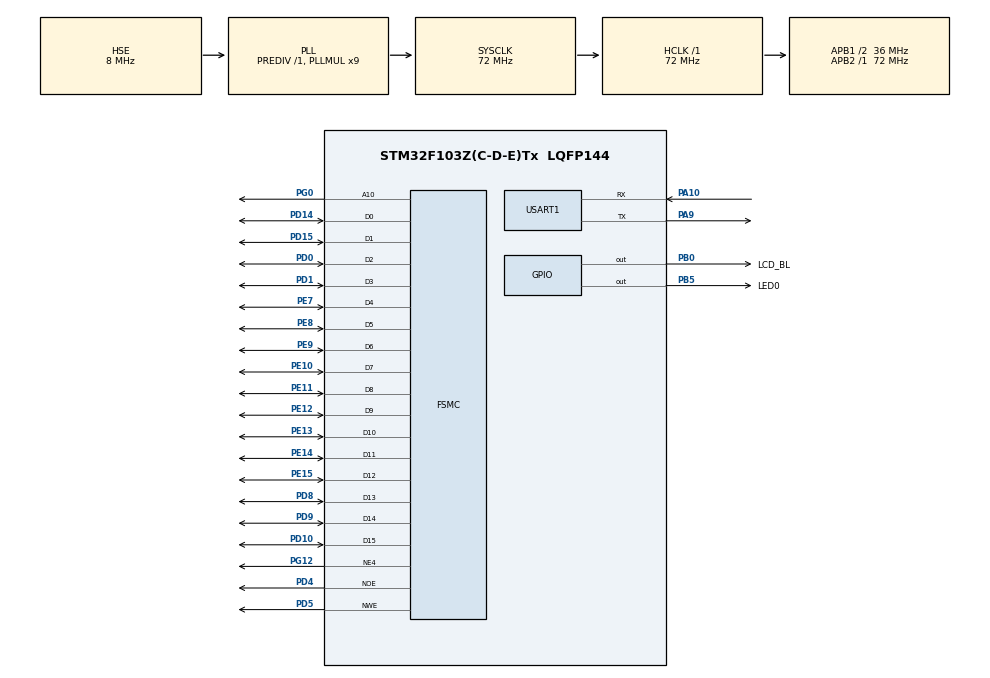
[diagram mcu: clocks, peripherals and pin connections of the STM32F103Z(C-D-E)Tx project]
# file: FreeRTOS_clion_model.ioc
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FREERTOS.HEAP_NUMBER=3
FREERTOS.Tasks01=defaultTask,-2,128,StartDefaultTask,Default,NULL,Dynamic,NULL,NULL;lightTask,0,128,StartLightTask,As weak,NULL,Dynamic,NULL,NULL;lvgl_heartbeat,1,1024,lvgl_heartbeat_func,As weak,NULL,Dynamic,NULL,NULL;init_task,-3,1024,start_init_task,As weak,NULL,Dynamic,NULL,NULL
FREERTOS.configTICK_RATE_HZ=1000
FREERTOS.configTIMER_TASK_PRIORITY=3
FREERTOS.configTOTAL_HEAP_SIZE=65536
FREERTOS.configUSE_APPLICATION_TASK_TAG=0
FREERTOS.configUSE_TICK_HOOK=1
FREERTOS.configUSE_TIMERS=0
FSMC.ExtendedMode1=FSMC_EXTENDED_MODE_ENABLE
Mcu.Family=STM32F1
Mcu.Name=STM32F103Z(C-D-E)Tx
Mcu.Package=LQFP144
NVIC.PriorityGroup=NVIC_PRIORITYGROUP_4
NVIC.TIM1_UP_IRQn=true\:0\:0\:false\:false\:true\:false\:false\:true
NVIC.TIM2_IRQn=true\:5\:0\:false\:false\:true\:true\:true\:true
NVIC.TimeBase=TIM1_UP_IRQn
NVIC.TimeBaseIP=TIM1
OSC_IN.Mode=HSE-External-Oscillator
OSC_IN.Signal=RCC_OSC_IN
OSC_OUT.Mode=HSE-External-Oscillator
OSC_OUT.Signal=RCC_OSC_OUT
PA10.Mode=Asynchronous
PA10.Signal=USART1_RX
PA13.Mode=Serial_Wire
PA13.Signal=SYS_JTMS-SWDIO
PA14.Mode=Serial_Wire
PA14.Signal=SYS_JTCK-SWCLK
PA9.Mode=Asynchronous
PA9.Signal=USART1_TX
PB0.GPIO_Label=LCD_BL
PB0.GPIO_PuPd=GPIO_PULLUP
PB0.GPIO_Speed=GPIO_SPEED_FREQ_HIGH
PB0.Signal=GPIO_Output
PB5.GPIO_Label=LED0
PB5.Signal=GPIO_Output
PD0.Signal=FSMC_D2_DA2
PD1.Signal=FSMC_D3_DA3
PD10.Signal=FSMC_D15_DA15
PD14.Signal=FSMC_D0_DA0
PD15.Signal=FSMC_D1_DA1
PD4.Signal=FSMC_NOE
PD5.Signal=FSMC_NWE
PD8.Signal=FSMC_D13_DA13
PD9.Signal=FSMC_D14_DA14
PE10.Signal=FSMC_D7_DA7
PE11.Signal=FSMC_D8_DA8
PE12.Signal=FSMC_D9_DA9
PE13.Signal=FSMC_D10_DA10
PE14.Signal=FSMC_D11_DA11
PE15.Signal=FSMC_D12_DA12
PE7.Signal=FSMC_D4_DA4
PE8.Signal=FSMC_D5_DA5
PE9.Signal=FSMC_D6_DA6
PG0.Signal=FSMC_A10
PG12.Mode=NorPsramChipSelect4_1
PG12.Signal=FSMC_NE4
ProjectManager.HeapSize=0x800
ProjectManager.StackSize=0x800
ProjectManager.TargetToolchain=SW4STM32
RCC.AHBFreq_Value=72000000
RCC.APB1CLKDivider=RCC_HCLK_DIV2
RCC.APB1Freq_Value=36000000
RCC.APB1TimFreq_Value=72000000
RCC.APB2Freq_Value=72000000
RCC.APB2TimFreq_Value=72000000
RCC.HCLKFreq_Value=72000000
RCC.PLLMUL=RCC_PLL_MUL9
RCC.PLLSourceVirtual=RCC_PLLSOURCE_HSE
RCC.SYSCLKFreq_VALUE=72000000
RCC.SYSCLKSource=RCC_SYSCLKSOURCE_PLLCLK
RCC.USBFreq_Value=72000000
SH.FSMC_A10.0=FSMC_A10,A10_1
SH.FSMC_D0_DA0.0=FSMC_D0,16b-d1
SH.FSMC_D10_DA10.0=FSMC_D10,16b-d1
SH.FSMC_D11_DA11.0=FSMC_D11,16b-d1
SH.FSMC_D12_DA12.0=FSMC_D12,16b-d1
SH.FSMC_D13_DA13.0=FSMC_D13,16b-d1
SH.FSMC_D14_DA14.0=FSMC_D14,16b-d1
SH.FSMC_D15_DA15.0=FSMC_D15,16b-d1
SH.FSMC_D1_DA1.0=FSMC_D1,16b-d1
SH.FSMC_D2_DA2.0=FSMC_D2,16b-d1
SH.FSMC_D3_DA3.0=FSMC_D3,16b-d1
SH.FSMC_D4_DA4.0=FSMC_D4,16b-d1
SH.FSMC_D5_DA5.0=FSMC_D5,16b-d1
SH.FSMC_D6_DA6.0=FSMC_D6,16b-d1
SH.FSMC_D7_DA7.0=FSMC_D7,16b-d1
SH.FSMC_D8_DA8.0=FSMC_D8,16b-d1
SH.FSMC_D9_DA9.0=FSMC_D9,16b-d1
SH.FSMC_NOE.0=FSMC_NOE,Lcd1
SH.FSMC_NWE.0=FSMC_NWE,Lcd1
TIM2.Period=24499
TIM2.Prescaler=31999
USART1.VirtualMode=VM_ASYNC
VP_FREERTOS_VS_CMSIS_V1.Mode=CMSIS_V1
VP_SYS_VS_tim1.Mode=TIM1
VP_TIM2_VS_ClockSourceINT.Mode=Internal
board=custom

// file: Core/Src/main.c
/* USER CODE BEGIN Header */
/**
  ******************************************************************************
  * @file           : main.c
  * @brief          : Main program body
  ******************************************************************************
  * @attention
  *
  * <h2><center>&copy; Copyright (c) 2023 STMicroelectronics.
  * All rights reserved.</center></h2>
  *
  * This software component is licensed by ST under Ultimate Liberty license
  * SLA0044, the "License"; You may not use this file except in compliance with
  * the License. You may obtain a copy of the License at:
  *                             www.st.com/SLA0044
  *
  ******************************************************************************
  */
/* USER CODE END Header */
#include "main.h"
#include "cmsis_os.h"
#include "tim.h"
#include "usart.h"
#include "gpio.h"
#include "fsmc.h"

/* USER CODE BEGIN Includes */
#include "../../BSP/LVGL/lvgl.h"
#include "../../BSP/LVGL/porting/lv_port_disp.h"
#include "../../BSP/LVGL/porting/lv_port_indev.h"
#include "../../Drivers/BSP/LVGL_APP/lv_demo_benchmark.h"
/* USER CODE END Includes */

void SystemClock_Config(void);
void MX_FREERTOS_Init(void);
/* USER CODE BEGIN PFP */
void delay_us(uint32_t xus)
{
  uint32_t Delay = xus * 168/4;
  do
  {
    __NOP();
  }
  while (Delay --);
}
/* USER CODE END PFP */

int main(void)
{

  /* MCU Configuration--------------------------------------------------------*/

  /* Reset of all peripherals, Initializes the Flash interface and the Systick. */
  HAL_Init();

  /* Configure the system clock */
  SystemClock_Config();

  /* Initialize all configured peripherals */
  MX_GPIO_Init();
  MX_USART1_UART_Init();
  MX_FSMC_Init();
  MX_TIM2_Init();
  /* USER CODE BEGIN 2 */
  lv_init();
  if(USE_LVGL_DISP)
    lv_port_disp_init();
//  if(USE_LVGL_INDEV)
//    lv_port_indev_init();
  lv_demo_benchmark();
  /* USER CODE END 2 */

  /* Call init function for freertos objects (in freertos.c) */
  MX_FREERTOS_Init();
  /* Start scheduler */
  osKernelStart();

  /* We should never get here as control is now taken by the scheduler */
  /* Infinite loop */
  while (1)
  {

  }
}

void SystemClock_Config(void)
{
  RCC_OscInitTypeDef RCC_OscInitStruct = {0};
  RCC_ClkInitTypeDef RCC_ClkInitStruct = {0};

  /** Initializes the RCC Oscillators according to the specified parameters
  * in the RCC_OscInitTypeDef structure.
  */
  RCC_OscInitStruct.OscillatorType = RCC_OSCILLATORTYPE_HSE;
  RCC_OscInitStruct.HSEState = RCC_HSE_ON;
  RCC_OscInitStruct.HSEPredivValue = RCC_HSE_PREDIV_DIV1;
  RCC_OscInitStruct.HSIState = RCC_HSI_ON;
  RCC_OscInitStruct.PLL.PLLState = RCC_PLL_ON;
  RCC_OscInitStruct.PLL.PLLSource = RCC_PLLSOURCE_HSE;
  RCC_OscInitStruct.PLL.PLLMUL = RCC_PLL_MUL9;
  if (HAL_RCC_OscConfig(&RCC_OscInitStruct) != HAL_OK)
  {
    Error_Handler();
  }
  /** Initializes the CPU, AHB and APB buses clocks
  */
  RCC_ClkInitStruct.ClockType = RCC_CLOCKTYPE_HCLK|RCC_CLOCKTYPE_SYSCLK
                              |RCC_CLOCKTYPE_PCLK1|RCC_CLOCKTYPE_PCLK2;
  RCC_ClkInitStruct.SYSCLKSource = RCC_SYSCLKSOURCE_PLLCLK;
  RCC_ClkInitStruct.AHBCLKDivider = RCC_SYSCLK_DIV1;
  RCC_ClkInitStruct.APB1CLKDivider = RCC_HCLK_DIV2;
  RCC_ClkInitStruct.APB2CLKDivider = RCC_HCLK_DIV1;

  if (HAL_RCC_ClockConfig(&RCC_ClkInitStruct, FLASH_LATENCY_2) != HAL_OK)
  {
    Error_Handler();
  }
}

 /**
  * @brief  Period elapsed callback in non blocking mode
  * @note   This function is called  when TIM1 interrupt took place, inside
  * HAL_TIM_IRQHandler(). It makes a direct call to HAL_IncTick() to increment
  * a global variable "uwTick" used as application time base.
  * @param  htim : TIM handle
  * @retval None
  */
void HAL_TIM_PeriodElapsedCallback(TIM_HandleTypeDef *htim)
{
  if (htim->Instance == TIM1) {
    HAL_IncTick();
  }
  /* USER CODE BEGIN Callback 1 */
  if(htim->Instance == TIM2)
  {

  }
  /* USER CODE END Callback 1 */
}

void Error_Handler(void)
{
  __disable_irq();
  while (1)
  {
  }
}

/************************ (C) COPYRIGHT STMicroelectronics *****END OF FILE****/

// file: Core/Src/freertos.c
/* USER CODE BEGIN Header */
/**
  ******************************************************************************
  * File Name          : freertos.c
  * Description        : Code for freertos applications
  ******************************************************************************
  * @attention
  *
  * <h2><center>&copy; Copyright (c) 2023 STMicroelectronics.
  * All rights reserved.</center></h2>
  *
  * This software component is licensed by ST under Ultimate Liberty license
  * SLA0044, the "License"; You may not use this file except in compliance with
  * the License. You may obtain a copy of the License at:
  *                             www.st.com/SLA0044
  *
  ******************************************************************************
  */
/* USER CODE END Header */

#include "FreeRTOS.h"
#include "task.h"
#include "main.h"
#include "cmsis_os.h"

/* USER CODE BEGIN Includes */
#include "../../BSP/LVGL/lvgl.h"
#include "../../BSP/LVGL/porting/lv_port_disp.h"
#include "../../BSP/LVGL/porting/lv_port_indev.h"

/* USER CODE END Includes */

osThreadId defaultTaskHandle;
osThreadId lightTaskHandle;
osThreadId lvgl_heartbeatHandle;
osThreadId init_taskHandle;

void StartDefaultTask(void const * argument);
void StartLightTask(void const * argument);
void lvgl_heartbeat_func(void const * argument);
void start_init_task(void const * argument);

void MX_FREERTOS_Init(void); /* (MISRA C 2004 rule 8.1) */

/* GetIdleTaskMemory prototype (linked to static allocation support) */
void vApplicationGetIdleTaskMemory( StaticTask_t **ppxIdleTaskTCBBuffer, StackType_t **ppxIdleTaskStackBuffer, uint32_t *pulIdleTaskStackSize );

/* Hook prototypes */
void vApplicationTickHook(void);

/* USER CODE BEGIN 3 */
__weak void vApplicationTickHook( void )
{
   /* This function will be called by each tick interrupt if
   configUSE_TICK_HOOK is set to 1 in FreeRTOSConfig.h. User code can be
   added here, but the tick hook is called from an interrupt context, so
   code must not attempt to block, and only the interrupt safe FreeRTOS API
   functions can be used (those that end in FromISR()). */
}
/* USER CODE END 3 */

/* USER CODE BEGIN GET_IDLE_TASK_MEMORY */
static StaticTask_t xIdleTaskTCBBuffer;
static StackType_t xIdleStack[configMINIMAL_STACK_SIZE];

void vApplicationGetIdleTaskMemory( StaticTask_t **ppxIdleTaskTCBBuffer, StackType_t **ppxIdleTaskStackBuffer, uint32_t *pulIdleTaskStackSize )
{
  *ppxIdleTaskTCBBuffer = &xIdleTaskTCBBuffer;
  *ppxIdleTaskStackBuffer = &xIdleStack[0];
  *pulIdleTaskStackSize = configMINIMAL_STACK_SIZE;
  /* place for user code */
}
/* USER CODE END GET_IDLE_TASK_MEMORY */

void MX_FREERTOS_Init(void) {

  /* Create the thread(s) */
  /* definition and creation of defaultTask */
  osThreadDef(defaultTask, StartDefaultTask, osPriorityLow, 0, 128);
  defaultTaskHandle = osThreadCreate(osThread(defaultTask), NULL);

  /* definition and creation of lightTask */
  osThreadDef(lightTask, StartLightTask, osPriorityNormal, 0, 128);
  lightTaskHandle = osThreadCreate(osThread(lightTask), NULL);

  /* definition and creation of lvgl_heartbeat */
  osThreadDef(lvgl_heartbeat, lvgl_heartbeat_func, osPriorityAboveNormal, 0, 1024);
  lvgl_heartbeatHandle = osThreadCreate(osThread(lvgl_heartbeat), NULL);

  /* definition and creation of init_task */
  osThreadDef(init_task, start_init_task, osPriorityIdle, 0, 1024);
  init_taskHandle = osThreadCreate(osThread(init_task), NULL);

}

void StartDefaultTask(void const * argument)
{
  /* USER CODE BEGIN StartDefaultTask */
  /* Infinite loop */
  for(;;)
  {
    lv_tick_inc(5);
    osDelay(5);
  }
  /* USER CODE END StartDefaultTask */
}

__weak void StartLightTask(void const * argument)
{
  for(;;)
  {
    osDelay(1);
  }
}

__weak void lvgl_heartbeat_func(void const * argument)
{
  /* USER CODE BEGIN lvgl_heartbeat_func */
  /* Infinite loop */
  for(;;)
  {
    lv_timer_handler();
    osDelay(5);
  }
  /* USER CODE END lvgl_heartbeat_func */
}

__weak void start_init_task(void const * argument)
{
  for(;;)
  {
    osDelay(1);
  }
}

/************************ (C) COPYRIGHT STMicroelectronics *****END OF FILE****/
